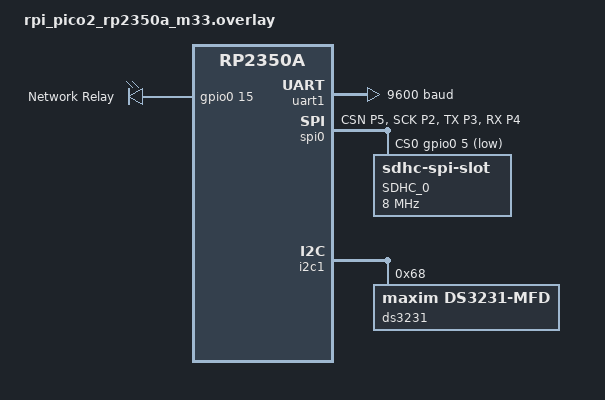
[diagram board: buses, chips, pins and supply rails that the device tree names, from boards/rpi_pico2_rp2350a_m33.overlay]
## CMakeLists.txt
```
# SPDX-License-Identifier: Apache-2.0

cmake_minimum_required(VERSION 3.20.0)
find_package(Zephyr REQUIRED HINTS $ENV{ZEPHYR_BASE})
project(iaq_firmware)

target_sources(app PRIVATE src/main.c)
```

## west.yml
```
manifest:
  # lowest version of the manifest file schema that can parse this file’s data
  version: 1.2
  remotes:
    - name: zephyrproject-rtos
      url-base: https://github.com/zephyrproject-rtos
  projects:
    - name: zephyr
      remote: zephyrproject-rtos
      revision: v4.4.0
      import:
        path-prefix: third_party
        file: west.yml
        name-allowlist:
          - cmsis
          - cmsis_6
          - hal_rpi_pico
          - fatfs
  self:
    path: iaq_firmware
```

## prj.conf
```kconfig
CONFIG_GPIO=y

CONFIG_LOG=y
CONFIG_LOG_DEFAULT_LEVEL=4

CONFIG_SERIAL=y
CONFIG_UART_INTERRUPT_DRIVEN=y
CONFIG_UART_LINE_CTRL=n


CONFIG_DISK_DRIVER_SDMMC=y
CONFIG_SPI=y

CONFIG_FILE_SYSTEM=y

CONFIG_FAT_FILESYSTEM_ELM=y


CONFIG_I2C=y

CONFIG_MFD_DS3231=y
CONFIG_RTC=y
CONFIG_RTC_DS3231=y
CONFIG_SENSOR=y
```

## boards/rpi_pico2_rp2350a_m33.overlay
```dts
/ {
	aliases {
	};

    relays: relays {
        compatible = "gpio-leds";
        
        network_relay: network_relay {
            gpios = <&gpio0 15 GPIO_ACTIVE_HIGH>;
            label = "Network Relay";
        };
        
    };
};

&uart1 {
	status = "okay";
	current-speed = <9600>;
};  

&pinctrl {
	spi0_sdcard_pin: spi0_sdcard_pin {
		group1 {
			pinmux = <SPI0_CSN_P5>, <SPI0_SCK_P2>, <SPI0_TX_P3>;
		};

		group2 {
			pinmux = <SPI0_RX_P4>;
			input-enable;
		};
	};

	i2c1_default: i2c1_default {
		group1 {
			pinmux = <I2C1_SDA_P6>, <I2C1_SCL_P7>;
			input-enable;
			input-schmitt-enable;
		};
	};
};


&spi0{
	status = "okay";
	pinctrl-0 = <&spi0_sdcard_pin>;
	pinctrl-names = "default";
	// Check if active low or high
	cs-gpios = <&gpio0 5 GPIO_ACTIVE_LOW>;

	sdhc0: sdhc@0 {
		compatible = "zephyr,sdhc-spi-slot";
		reg = <0>;
		status = "okay";
		label = "SDHC_0";
		mmc {
			compatible = "zephyr,sdmmc-disk";
			status = "okay";
			disk-name = "SDHC_0";
		};
		spi-max-frequency = <8000000>;
	};
};


&i2c1 {
	status = "okay";
	pinctrl-0 = <&i2c1_default>;
	pinctrl-names = "default";

	ds3231: ds3231@68 {
		compatible = "maxim,ds3231-mfd";
		reg = <0x68>;
		status = "okay";

		ds3231_sensor: ds3231_sensor {
			compatible = "maxim,ds3231-sensor";
			status = "okay";
		};

		ds3231_rtc: ds3231_rtc {
			compatible = "maxim,ds3231-rtc";
			status = "okay";
			isw-gpios = <&gpio0 25 (GPIO_PULL_UP | GPIO_ACTIVE_LOW)>;
			// freq-32khz-gpios = <&gpio0 33 (GPIO_PULL_UP | GPIO_ACTIVE_LOW)>;
		};
	};
};
```

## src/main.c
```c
#include <stdio.h>
#include <zephyr/kernel.h>
#include <zephyr/drivers/gpio.h>
#include <zephyr/logging/log.h>

#include <zephyr/fs/fs.h>
#include <ff.h>

#include <zephyr/drivers/rtc.h>
#include <zephyr/sys/util.h>
#include <zephyr/drivers/sensor.h>
#include <zephyr/drivers/sensor/pzem004t.h>
#include <zephyr/storage/disk_access.h>


#define METER_TO_JSON_FORMAT ("\n=BEGIN={\"voltage\":%0.4f,\"current\": %0.4f,\"power\": %0.4f,\"energy\": %0.4f,\"freq\": %0.4f,\"pf\": %0.4f,\"timestamp\": \"%04d-%02d-%02dT%02d:%02d:%02d\"}==END==\n")

const struct device *const rtc = DEVICE_DT_GET(DT_NODELABEL(ds3231_rtc));

LOG_MODULE_REGISTER(smart_meter, LOG_LEVEL_DBG);

/* 1000 msec = 1 sec */
#define SLEEP_TIME_MS 1000

/* The devicetree node identifier for the "led0" alias. */
#define LED0_NODE DT_ALIAS(led0)

static const struct gpio_dt_spec led = GPIO_DT_SPEC_GET(LED0_NODE, gpios);
// static const struct device *pzem = DEVICE_DT_GET(DT_NODELABEL(pzem));

static FATFS fat_fs;
/* mounting info */
static struct fs_mount_t mp = {
	.type = FS_FATFS,
	.fs_data = &fat_fs,
};

/*
 *  Note the fatfs library is able to mount only strings inside _VOLUME_STRS
 *  in ffconf.h
 */
static const char *disk_mount_pt = "/SD:";

static int mount_sd_card(void)
{
	/* raw disk i/o */
	static const char *disk_pdrv = "SD";
	uint64_t memory_size_mb;
	uint32_t block_count;
	uint32_t block_size;

	if (disk_access_init(disk_pdrv) != 0)
	{
		LOG_ERR("Storage init ERROR!");
		return -1;
	}

	mp.mnt_point = disk_mount_pt;

	int res = fs_mount(&mp);

	if (res == FR_OK)
	{
		LOG_INF("Disk mounted.\n");
	}
	else
	{
		LOG_ERR("Failed to mount disk \n");
		return -1;
	}
	return 0;
}

static int set_date_time(const struct device *rtc, const struct rtc_time tm)
{
	int ret = 0;

	ret = rtc_set_time(rtc, &tm);
	if (ret < 0)
	{
		LOG_ERR("Cannot write date time: %d\n", ret);
		return ret;
	}
	return ret;
}

static int get_date_time(const struct device *rtc, struct rtc_time *tm)
{
	int ret = 0;

	ret = rtc_get_time(rtc, tm);
	if (ret < 0)
	{
		LOG_WRN("Cannot read date time: %d\n", ret);
		return ret;
	}
	LOG_DBG("RTC date and time: %04d-%02d-%02d %02d:%02d:%02d\n", tm->tm_year + 1900,
			tm->tm_mon + 1, tm->tm_mday, tm->tm_hour, tm->tm_min, tm->tm_sec);

	return ret;
}

int main(void)
{
	int ret;
	bool led_state = true;

	// if (!device_is_ready(pzem))
	// {
	// 	LOG_ERR("pzem device not ready.\n");
	// 	return 0;
	// }
	/* Check if the RTC is ready */
	if (!device_is_ready(rtc))
	{
		printk("Device is not ready\n");
		return 0;
	}
	if (!gpio_is_ready_dt(&led))
	{
		return 0;
	}

	ret = gpio_pin_configure_dt(&led, GPIO_OUTPUT_ACTIVE);
	if (ret < 0)
	{
		return 0;
	}
	if (mount_sd_card())
	{
		LOG_ERR("Failed to mount SD card\n");
		return -1;
	}
	else
	{
		LOG_INF("Successfully mounted SD card\n");
	}

#ifdef SET_RTC_TIME_FROM_MACHINE
	const struct rtc_time tm = {
		.tm_year = 2024 - 1900,
		.tm_mon = 11 - 1,
		.tm_mday = 17,
		.tm_hour = 4,
		.tm_min = 19,
		.tm_sec = 0,
	};

	set_date_time(rtc, tm);
#endif

	// struct sensor_value voltage;
	// struct sensor_value current;
	// struct sensor_value frequency;
	// struct sensor_value energy;
	// struct sensor_value power;
	// struct sensor_value power_factor;

	struct rtc_time tm;

	// TODO: (matthew) calculate the maximum buffer required for printing.
	char logging_buffer[1000];
	while (1)
	{
		// ret = sensor_sample_fetch(pzem);
		// if (ret)
		// {
		// 	LOG_WRN("sensor_sample_fetch failed ret %d\n", ret);
		// 	continue;
		// }

		ret = get_date_time(rtc, &tm);
		if (ret)
		{
			LOG_WRN("Reading rtc time failed ret %d\n", ret);
			continue;
		}

		// ret = sensor_channel_get(pzem, SENSOR_CHAN_VOLTAGE, &voltage);
		// ret = sensor_channel_get(pzem, SENSOR_CHAN_CURRENT, &current);
		// ret = sensor_channel_get(pzem, SENSOR_CHAN_POWER, &power);
		// ret = sensor_channel_get(pzem, SENSOR_CHAN_FREQUENCY, &frequency);
		// ret = sensor_channel_get(pzem, SENSOR_CHAN_PZEM004T_ENERGY, &power);
		// ret = sensor_channel_get(pzem, SENSOR_CHAN_PZEM004T_POWER_FACTOR, &power_factor);
		// int needed_size = snprintf(logging_buffer, 1000, METER_TO_JSON_FORMAT, sensor_value_to_float(&voltage), sensor_value_to_float(&current), sensor_value_to_float(&power), sensor_value_to_float(&energy), sensor_value_to_float(&frequency), sensor_value_to_float(&power_factor), tm.tm_year, tm.tm_mon, tm.tm_mday, tm.tm_hour, tm.tm_min, tm.tm_sec);

		char file_name_buffer[60];
		snprintf(file_name_buffer, sizeof(file_name_buffer), "/sd0/meter_data_%04d-%02d-%02d.json", tm.tm_year, tm.tm_mon, tm.tm_mday);

		struct fs_file_t data_filp;
		fs_file_t_init(&data_filp);

		ret = fs_open(&data_filp, file_name_buffer, FS_O_APPEND | FS_O_CREATE);
		if (ret)
		{
			LOG_ERR("%s -- failed to create file (err = %d)\n", __func__, ret);
			continue;
		}
		else
		{
			LOG_INF("%s - successfully created file\n", __func__);
		}

		ret = fs_write(&data_filp, logging_buffer, strlen(logging_buffer));
		if (ret < 0)
		{
			LOG_ERR("%s -- failed to write to file (err = %d)\n", __func__, ret);
			continue;
		}
		fs_close(&data_filp);
		k_sleep(K_MSEC(10000));
	}

	return 0;
}
```

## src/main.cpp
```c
#include <cstdio>
#include "pico/stdlib.h"

#include "sensors.h"


int main()
{
     //Initialise standard I/O
    stdio_init_all();
    std::printf("\n=== IoT Air Quality Board ===\n");

    //Initialize hardware modules
    std::printf("Initialising sensors..\n");
    sensors_init();

    std::printf("Initialising WiFi module...\n");

    sleep_ms(2000);
    std::printf("\nSystem Ready.\n\n");

    while (true) {
        //Read all sensor data
        SensorData data = sensors_read_all();

        //Print readings to serial
        if (data.valid) {
            std::printf("......SENSOR READINGS......\n");
            std::printf("PM1.0: %.3f  µg/m³ | PM2.5: %.3f  µg/m³ | PM10:  %.3f  µg/m³ \n", data.pm1, data.pm25, data.pm10);
            std::printf("CO₂: %.3f  ppm | VOC Grade: %.3f \n", data.co2, data.voc);
            std::printf("Temp: %.1f °C | Humidity: %.1f %%\n", data.temp, data.hum);
            std::printf("CH₂O: %.3f mg/m³ | CO: %.1f ppm | O₃: %.2f ppm | NO₂: %.2f ppm\n\n", data.ch2o, data.co, data.o3, data.no2);
            
        } else {
            std::printf("ZPHS01B not detected/Invalid response\n\n");
        }
        std::printf(".....MQ ANALOG SENSORS..........\n");
        std::printf("MQ-H2S (ADC0, GPIO26): %.3f V\n", data.h2s_voltage);
        std::printf("MQ-SNO2 (ADC1, GPIO27): %.3f V\n", data.sno2_voltage);
        std::printf("........................\n\n");


        //Wait for the next cycle
        sleep_ms(3000);
    }

    /*while (1)
        printTest();
    return 0;*/
}
```

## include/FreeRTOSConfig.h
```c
/*
 * FreeRTOS V202111.00
 * Copyright (C) 2020 Amazon.com, Inc. or its affiliates.  All Rights Reserved.
 *
 * Permission is hereby granted, free of charge, to any person obtaining a copy of
 * this software and associated documentation files (the "Software"), to deal in
 * the Software without restriction, including without limitation the rights to
 * use, copy, modify, merge, publish, distribute, sublicense, and/or sell copies of
 * the Software, and to permit persons to whom the Software is furnished to do so,
 * subject to the following conditions:
 *
 * The above copyright notice and this permission notice shall be included in all
 * copies or substantial portions of the Software.
 *
 * THE SOFTWARE IS PROVIDED "AS IS", WITHOUT WARRANTY OF ANY KIND, EXPRESS OR
 * IMPLIED, INCLUDING BUT NOT LIMITED TO THE WARRANTIES OF MERCHANTABILITY, FITNESS
 * FOR A PARTICULAR PURPOSE AND NONINFRINGEMENT. IN NO EVENT SHALL THE AUTHORS OR
 * COPYRIGHT HOLDERS BE LIABLE FOR ANY CLAIM, DAMAGES OR OTHER LIABILITY, WHETHER
 * IN AN ACTION OF CONTRACT, TORT OR OTHERWISE, ARISING FROM, OUT OF OR IN
 * CONNECTION WITH THE SOFTWARE OR THE USE OR OTHER DEALINGS IN THE SOFTWARE.
 *
 * http://www.FreeRTOS.org
 * http://aws.amazon.com/freertos
 *
 * 1 tab == 4 spaces!
 */

#ifndef FREERTOS_CONFIG_H
#define FREERTOS_CONFIG_H

/*-----------------------------------------------------------
 * Application specific definitions.
 *
 * These definitions should be adjusted for your particular hardware and
 * application requirements.
 *
 * THESE PARAMETERS ARE DESCRIBED WITHIN THE 'CONFIGURATION' SECTION OF THE
 * FreeRTOS API DOCUMENTATION AVAILABLE ON THE FreeRTOS.org WEB SITE.
 *
 * See http://www.freertos.org/a00110.html
 *----------------------------------------------------------*/
#define configUSE_PASSIVE_IDLE_HOOK 0
#define configKERNEL_PROVIDED_STATIC_MEMORY 0
/* Scheduler Related */
#define configUSE_PREEMPTION 1
#define configUSE_TICKLESS_IDLE 0
#define configUSE_IDLE_HOOK 0
#define configUSE_TICK_HOOK 0
#define configTICK_RATE_HZ ((TickType_t)1000)
#define configMAX_PRIORITIES 32
#define configMINIMAL_STACK_SIZE (configSTACK_DEPTH_TYPE)256
#define configUSE_16_BIT_TICKS 0

#define configIDLE_SHOULD_YIELD 1

/* Synchronization Related */
#define configUSE_MUTEXES 1
#define configUSE_RECURSIVE_MUTEXES 1
#define configUSE_APPLICATION_TASK_TAG 0
#define configUSE_COUNTING_SEMAPHORES 1
#define configQUEUE_REGISTRY_SIZE 8
#define configUSE_QUEUE_SETS 1
#define configUSE_TIME_SLICING 1
#define configUSE_NEWLIB_REENTRANT 0
// todo need this for lwip FreeRTOS sys_arch to compile
#define configENABLE_BACKWARD_COMPATIBILITY 1
#define configNUM_THREAD_LOCAL_STORAGE_POINTERS 5

/* System */
#define configSTACK_DEPTH_TYPE uint32_t
#define configMESSAGE_BUFFER_LENGTH_TYPE size_t

/* Memory allocation related definitions. */
#define configSUPPORT_STATIC_ALLOCATION 1
#define configSUPPORT_DYNAMIC_ALLOCATION 1
#define configTOTAL_HEAP_SIZE (100 * 1024)
#define configAPPLICATION_ALLOCATED_HEAP 0

/* Hook function related definitions. */
#define configCHECK_FOR_STACK_OVERFLOW 0
#define configUSE_MALLOC_FAILED_HOOK 0
#define configUSE_DAEMON_TASK_STARTUP_HOOK 0

/* Run time and task stats gathering related definitions. */
#define configGENERATE_RUN_TIME_STATS 1
#define configUSE_TRACE_FACILITY 1
#define configUSE_STATS_FORMATTING_FUNCTIONS 1

/* Co-routine related definitions. */
#define configUSE_CO_ROUTINES 0
#define configMAX_CO_ROUTINE_PRIORITIES 1

/* Software timer related definitions. */
#define configUSE_TIMERS 1
#define configTIMER_TASK_PRIORITY (configMAX_PRIORITIES - 1)
#define configTIMER_QUEUE_LENGTH 10
#define configTIMER_TASK_STACK_DEPTH 1024

/* Interrupt nesting behaviour configuration. */
/*
#define configKERNEL_INTERRUPT_PRIORITY         [dependent of processor]
#define configMAX_SYSCALL_INTERRUPT_PRIORITY    [dependent on processor and application]
#define configMAX_API_CALL_INTERRUPT_PRIORITY   [dependent on processor and application]
*/

#if FREE_RTOS_KERNEL_SMP // set by the RP2040 SMP port of FreeRTOS
/* SMP port only */
#define configNUMBER_OF_CORES 2
#define configTICK_CORE 0
#define configRUN_MULTIPLE_PRIORITIES 1
#define configUSE_CORE_AFFINITY 1
#endif

/* RP2040 specific */
#define configSUPPORT_PICO_SYNC_INTEROP 1
#define configSUPPORT_PICO_TIME_INTEROP 1

// #include <assert.h>
// /* Define to trap errors during development. */
// #define configASSERT(x) assert(x)
/* Define to trap errors during development. */
//#define configASSERT( x )  assert( x )
#ifdef NDEBUG           /* required by ANSI standard */
#  define configASSERT(__e) ((void)0)
#else
#  define configASSERT(__e) ((void)0)

// #include "assert_panic.h"
// #  define configASSERT(__e) ((__e) ? (void)0 : my_assert_func(__FILE__, __LINE__, __func__, #__e))
#endif

/* Set the following definitions to 1 to include the API function, or zero
to exclude the API function. */
#define INCLUDE_vTaskPrioritySet 1
#define INCLUDE_uxTaskPriorityGet 1
#define INCLUDE_vTaskDelete 1
#define INCLUDE_vTaskSuspend 1
#define INCLUDE_vTaskDelayUntil 1
#define INCLUDE_vTaskDelay 1
#define INCLUDE_xTaskGetSchedulerState 1
#define INCLUDE_xTaskGetCurrentTaskHandle 1
#define INCLUDE_uxTaskGetStackHighWaterMark 1
#define INCLUDE_xTaskGetIdleTaskHandle 1
#define INCLUDE_eTaskGetState 1
#define INCLUDE_xTimerPendFunctionCall 1
#define INCLUDE_xTaskAbortDelay 1
#define INCLUDE_xTaskGetHandle 1
#define INCLUDE_xTaskResumeFromISR 1
#define INCLUDE_xQueueGetMutexHolder 1

/* A header file that defines trace macro can be included here. */

#if defined(PICO_RP2040) || defined(PICO_PR2350)
#include "RP2040.h"

#define portCONFIGURE_TIMER_FOR_RUN_TIME_STATS()

#ifdef __cplusplus
extern "C"
{
#endif

    uint64_t time_us_64(void);

#ifdef __cplusplus
}
#endif
#define portGET_RUN_TIME_COUNTER_VALUE() (time_us_64() / 100)
#endif



#define configTASK_NOTIFICATION_ARRAY_ENTRIES   4

#endif /* FREERTOS_CONFIG_H */
```

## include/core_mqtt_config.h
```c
/*
 * coreMQTT v2.3.1
 * Copyright (C) 2020 Amazon.com, Inc. or its affiliates.  All Rights Reserved.
 *
 * SPDX-License-Identifier: MIT
 *
 * Permission is hereby granted, free of charge, to any person obtaining a copy of
 * this software and associated documentation files (the "Software"), to deal in
 * the Software without restriction, including without limitation the rights to
 * use, copy, modify, merge, publish, distribute, sublicense, and/or sell copies of
 * the Software, and to permit persons to whom the Software is furnished to do so,
 * subject to the following conditions:
 *
 * The above copyright notice and this permission notice shall be included in all
 * copies or substantial portions of the Software.
 *
 * THE SOFTWARE IS PROVIDED "AS IS", WITHOUT WARRANTY OF ANY KIND, EXPRESS OR
 * IMPLIED, INCLUDING BUT NOT LIMITED TO THE WARRANTIES OF MERCHANTABILITY, FITNESS
 * FOR A PARTICULAR PURPOSE AND NONINFRINGEMENT. IN NO EVENT SHALL THE AUTHORS OR
 * COPYRIGHT HOLDERS BE LIABLE FOR ANY CLAIM, DAMAGES OR OTHER LIABILITY, WHETHER
 * IN AN ACTION OF CONTRACT, TORT OR OTHERWISE, ARISING FROM, OUT OF OR IN
 * CONNECTION WITH THE SOFTWARE OR THE USE OR OTHER DEALINGS IN THE SOFTWARE.
 */

/**
 * @file core_mqtt_config.h
 * @brief This header sets configuration macros for the MQTT library.
 */
#ifndef CORE_MQTT_CONFIG_H_
#define CORE_MQTT_CONFIG_H_

/* Standard include. */
#include <stdint.h>

/**************************************************/
/******* DO NOT CHANGE the following order ********/
/**************************************************/

/* Include logging header files and define logging macros in the following order:
 * 1. Include the header file "logging_levels.h".
 * 2. Define the LIBRARY_LOG_NAME and LIBRARY_LOG_LEVEL macros depending on
 * the logging configuration for MQTT.
 * 3. Include the header file "logging_stack.h", if logging is enabled for MQTT.
 */

/* Logging configuration for the MQTT library. */
#ifndef LIBRARY_LOG_NAME
#define LIBRARY_LOG_NAME "CORE_MQTT"
#endif

#ifndef LIBRARY_LOG_LEVEL
#define LIBRARY_LOG_LEVEL LOG_DEBUG
#endif

/************ End of logging configuration ****************/

/**
 * @brief Retry count for reading CONNACK from network.
 *
 * #MQTT_Connect() can be using retries. If timeout passed as 0 to MQTT_Connect(),
 * retries are used to attempt to read from network. The maximum retry count is
 * specified by this config.
 *
 * These unit tests expect retrying only twice.
 */
#define MQTT_MAX_CONNACK_RECEIVE_RETRY_COUNT (2U)

#define MQTT_SUB_UNSUB_MAX_VECTORS (6U)

#define MQTT_SEND_TIMEOUT_MS (2000U)

#define MQTT_PINGRESP_TIMEOUT_MS (20000U)

// #include <stdio.h>
// #define LogError(...) printf(LIBRARY_LOG_NAME ": "); printf __VA_ARGS__; printf("\n");
// #define LogWarn(...) printf(LIBRARY_LOG_NAME ": "); printf __VA_ARGS__; printf("\n");
// #define LogDebug(...) printf(LIBRARY_LOG_NAME ": "); printf __VA_ARGS__; printf("\n");
// #define LogInfo(...) printf(LIBRARY_LOG_NAME ": "); printf __VA_ARGS__; printf("\n");

#endif /* ifndef CORE_MQTT_CONFIG_H_ */
```

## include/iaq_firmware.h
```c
#pragma once

#include "iaq_utils/iaq_assert_panic.h"
#define configASSERT_PANIC(__e) ((__e) ? (void)0 : my_assert_func_panic(__FILE__, __LINE__, __func__, #__e))
#define PANIC(str) my_assert_func_panic(__FILE__, __LINE__, __func__, str)
```

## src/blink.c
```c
#include "blink.h"

#include <stdio.h>

void printTest()
{
    printf("This is a test function for the blink program.\n");
}
```

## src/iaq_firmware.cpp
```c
#include "iaq_firmware.h"

#include <cstdio>
#include "pico/stdlib.h"

#include "sensors.h"
#include "fat_sd_card.h"
#include "rtc.h"
#include "mqtt_function.h"
#include "system_state_task.h"
#include "FreeRTOS.h"
#include "task.h"
#include "queue.h"
#include "portmacro.h"
#include "projdefs.h"

#include <string>
using std::string;

#include "memcpy_shared_pointer.h"

using std::string;

#define SENSOR_TO_JSON_FORMAT ("{\"pm1\":%0.4f,\"pm25\": %0.4f,\"pm10\": %0.4f,\"co2\": %0.4f,\"voc\": %0.4f,\"temp\": %0.4f,\"hum\": %0.4f,\"ch2o\": %0.4f,\"co\": %0.4f,\"o3\": %0.4f,\"no2\": %0.4f,\"h2s\": %0.4f,\"timestamp\": \"%04d-%02d-%02dT%02d:%02d:%02d\"}")
#define TAG "MAIN"
// Start blink task
TaskHandle_t taskSensor;
TaskHandle_t taskStorage;
TaskHandle_t taskSystemState;
TaskHandle_t taskNetwork;
QueueHandle_t sensorToStorageQueue;
QueueHandle_t sensorToNetworkQueue;
QueueHandle_t systemStateQueue;

#ifdef CYW43_WL_GPIO_LED_PIN
#include "pico/cyw43_arch.h"
#endif
#include "iaq_utils/iaq_logging.h"

#ifndef LED_DELAY_MS
#define LED_DELAY_MS 250
#endif
#include "iaq_utils/iaq_time.h"

// Perform initialisation
int pico_led_init(void)
{
#if defined(PICO_DEFAULT_LED_PIN)
    // A device like Pico that uses a GPIO for the LED will define PICO_DEFAULT_LED_PIN
    // so we can use normal GPIO functionality to turn the led on and off
    gpio_init(PICO_DEFAULT_LED_PIN);
    gpio_set_dir(PICO_DEFAULT_LED_PIN, GPIO_OUT);
    return PICO_OK;
#elif defined(CYW43_WL_GPIO_LED_PIN)
    // For Pico W devices we need to initialise the driver etc
    // return cyw43_arch_init();
#endif
}

// Turn the led on or off
void pico_set_led(bool led_on)
{
#if defined(PICO_DEFAULT_LED_PIN)
    // Just set the GPIO on or off
    gpio_put(PICO_DEFAULT_LED_PIN, led_on);
#elif defined(CYW43_WL_GPIO_LED_PIN)
    // Ask the wifi "driver" to set the GPIO on or off
    cyw43_arch_gpio_put(CYW43_WL_GPIO_LED_PIN, led_on);
#endif
}

bool pico_get_led()
{
#if defined(PICO_DEFAULT_LED_PIN)
    // Just read the GPIO
    return gpio_get(PICO_DEFAULT_LED_PIN);
#elif defined(CYW43_WL_GPIO_LED_PIN)
    // Ask the wifi "driver" to read the GPIO
    return cyw43_arch_gpio_get(CYW43_WL_GPIO_LED_PIN);
#endif
}

void sensorTask(void *para)
{

    LOGI(TAG, "=== IoT Air Quality Board ===");

    // Initialize hardware modules
    LOGI(TAG, "Initialising sensors..");
    sensors_init();

    // printf("System Ready.\n\n", xTaskGetCurrentTaskHandle()->pxTaskName);
    TickType_t xLastWakeTime = xTaskGetTickCount();
    xTaskGetCurrentTaskHandle();
    while (true)
    {
        memcpy_shared_ptr<string> data_str_p = make_memcpy_shared_ptr<string>("");

        // Read all sensor data
        SensorData data = sensors_read_all();
        // pico_set_led(true);
        // vTaskDelay(100);
        // pico_set_led(false);

        // Print readings to serial
        if (!data.valid)
        {
            LOGW(TAG, "Invalid sensor data, skipping this cycle.");
            continue;
        }

        datetime_t dt;
        IAQ_RTC::get_time(&dt);

        // IAQ_RTC::set_time(&dt);
        int needed_size = sprintf(nullptr, SENSOR_TO_JSON_FORMAT, data.pm1, data.pm25, data.pm10, data.co2, data.voc, data.temp, data.hum, data.ch2o, data.co, data.o3, data.no2, data.h2s_ugm3, dt.year, dt.month, dt.day, dt.hour, dt.min, dt.sec);

        data_str_p->resize(needed_size + 1);
        sprintf(data_str_p->data(), SENSOR_TO_JSON_FORMAT, data.pm1, data.pm25, data.pm10, data.co2, data.voc, data.temp, data.hum, data.ch2o, data.co, data.o3, data.no2, data.h2s_ugm3, dt.year, dt.month, dt.day, dt.hour, dt.min, dt.sec);

        if (!data_str_p.memcpy_send(nullptr, [](void *, const memcpy_shared_ptr<string> *src)
                                    { return xQueueSend(sensorToStorageQueue, src, 10) == pdTRUE; }))
        {
            LOGW(TAG, "Failed to send data to storage queue\n");
        }

        memcpy_shared_ptr<string> data_str_p2 = make_memcpy_shared_ptr<string>(data_str_p->c_str());
        if (!data_str_p2.memcpy_send(nullptr, [](void *, const memcpy_shared_ptr<string> *src)
                                     { return xQueueSend(sensorToNetworkQueue, src, 10) == pdTRUE; }))
        {
            LOGW(TAG, "Failed to send data to network queue\n");
        }

        // Wait for the next cycle
        vTaskDelayUntil(&xLastWakeTime, pdMS_TO_TICKS(1000 * 10));
    }
}

void storageTask(void *para)
{
    configASSERT_PANIC(fat_sd_card_init(false));
    memcpy_shared_ptr<string> data_str_p{};

    while (1)
    {

        if (data_str_p.memcpy_receive(nullptr, [](memcpy_shared_ptr<string> *dest, const void *const src)
                                      { return xQueueReceive(sensorToStorageQueue, dest, 1000) == pdTRUE; }))
        {
            LOGV(TAG, "Received data for storage: %s\n", data_str_p->c_str());

            datetime_t dt;
            IAQ_RTC::get_time(&dt);
            char file_name_buffer[60];
            snprintf(file_name_buffer, sizeof(file_name_buffer), "/sd0/meter_data_%04d-%02d-%02d.json", dt.year, dt.month, dt.day);
            FF_FILE *file = fat_sd_card_open(file_name_buffer, "a");

            fat_sd_card_write("\n=BEGIN=", strlen("\n=BEGIN="), file);
            fat_sd_card_write(data_str_p->c_str(), data_str_p->length(), file);
            fat_sd_card_write("==END==\n", strlen("==END==\n"), file);

            fat_sd_card_close(file);
        }

        vTaskDelay(pdMS_TO_TICKS(1 * 1000));
    }
    fat_sd_card_deinit();
}

void networkTask(void *para)
{
    // pico_led_init();

    gpio_init(22);
    gpio_set_dir(22, GPIO_OUT);
    gpio_put(22, true);
    vTaskDelay(pdMS_TO_TICKS(60000));

    while (true)
    {

        memcpy_shared_ptr<string> data_str_p{};
        if (full_connecion())
        {
            if (data_str_p.memcpy_receive(nullptr, [](memcpy_shared_ptr<string> *dest, const void *const src)
                                          { return xQueueReceive(sensorToNetworkQueue, dest, 0) == pdTRUE; }))
            {
                LOGV(TAG, "Received data for storage: %s\n", data_str_p->c_str());

                mqtt_publish("test/topic", data_str_p->c_str(), MQTTQoS0);
                mqtt_loop();
            }
        }
        else
        {
            close_conn();
        }

        iaq_delay_ms(1);
    }
    printf("mqtt client exiting\n");
    vTaskDelete(NULL);
}

int main()
{
    // Initialise standard I/O
    stdio_init_all();
    IAQ_RTC::init();

    sensorToStorageQueue = xQueueCreate(1, sizeof(memcpy_shared_ptr<string>));
    sensorToNetworkQueue = xQueueCreate(1, sizeof(memcpy_shared_ptr<string>));
    systemStateQueue = xQueueCreate(5, sizeof(SystemState));
    xTaskCreate(sensorTask, "sensorThread", 5000, NULL, 2, &taskSensor);
    xTaskCreate(storageTask, "storageThread", 5000, NULL, 2, &taskStorage);
    xTaskCreate(networkTask, "NetworkThread", 5000, NULL, 2, &taskNetwork);
    xTaskCreate(systemStateTask, "SystemStateThread", 5000, NULL, 2, &taskSystemState);

    // vTaskCoreAffinitySet(taskNetwork, (1 << 0));
    /* Start the tasks and timer running. */
    vTaskStartScheduler();

    return 0;
}
```

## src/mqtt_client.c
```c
#include "pico/stdlib.h"


#include <stdlib.h> // For rand() and srand()
#include <time.h>

#include "mqtt_function.h"
#include "FreeRTOS.h"
#include "task.h"

#include "hardware/adc.h"
static void mqtt_task(void *para)
{

    wifi_init("lulo", "llllllll");
    mqtt_connect();

    while (mqtt_connected())
    {
        vTaskDelay(100);
    }
    printf("mqtt client exiting\n");
    vTaskDelete(NULL);
    return;
}

int main(void)
{
    stdio_init_all();

    srand(time(NULL));

    printf("mqtt client starting\n");

    adc_init();
    adc_set_temp_sensor_enabled(true);
    adc_select_input(4);

    // Create our blink task
    xTaskCreate(mqtt_task,
                "BlinkTask",
                10240, // stack words
                NULL,
                tskIDLE_PRIORITY + 1,
                NULL);

    // Start FreeRTOS scheduler
    vTaskStartScheduler();
    // We should never get here
    for (;;)
        tight_loop_contents();
    return 0;
}
```

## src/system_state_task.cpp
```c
#include "system_state_task.h"

#include "pico/stdlib.h"
#include "iaq_utils/iaq_time.h"

#include "FreeRTOS.h"
#include "task.h"
#include "queue.h"

extern QueueHandle_t systemStateQueue;

static uint32_t systemStateToDelayTime(SystemState state)
{
    switch (state)
    {
    case SystemState::NORMAL:
        return 500;
    case SystemState::WIFI_CONNECTED:
        return 500;
    case SystemState::TLS_CONNECTED:
        return 500;
    case SystemState::MQTT_CONNECTED:
        return 500;
    case SystemState::SYS_ERROR:
        return 250;
    default:
        return 1000;
    }
}

static uint32_t systemStateToBlinkCount(SystemState state)
{
    switch (state)
    {
    case SystemState::NORMAL:
        return 1;
    case SystemState::WIFI_CONNECTED:
        return 2;
    case SystemState::TLS_CONNECTED:
        return 3;
    case SystemState::MQTT_CONNECTED:
        return 4;
    case SystemState::SYS_ERROR:
        return 10;
    default:
        return 1;
    }
}

extern "C" bool sendState(SystemState state)
{
    return xQueueSend(systemStateQueue, &state, 0) == pdTRUE;
}
void systemStateTask(void *para)
{

    gpio_init(16);
    gpio_set_dir(16, GPIO_OUT);
    // TickType_t xLastWakeTime = xTaskGetTickCount();
    SystemState state = SystemState::NORMAL;
    uint32_t delayTime = systemStateToDelayTime(state);
    uint32_t blinkCount = systemStateToBlinkCount(state);

    uint32_t currentBlinkCounter = 0;
    while (1)
    {
        if (xQueueReceive(systemStateQueue, &state, 0) == pdTRUE)
        {
            gpio_put(16, 0);

            delayTime = systemStateToDelayTime(state);
            blinkCount = systemStateToBlinkCount(state);
            currentBlinkCounter = 0;
        }
        if (currentBlinkCounter < 2 * blinkCount)
        {
            gpio_put(16, !gpio_get(16));
            currentBlinkCounter++;
        }
        else
        {
            gpio_put(16, 0);
            currentBlinkCounter = 0;
            iaq_delay_ms(3000);
        }
        iaq_delay_ms(delayTime);

        // vTaskDelayUntil(&xLastWakeTime, pdMS_TO_TICKS(delayTime)); ZMe:m:UKLkuW3NT
    }
}
```

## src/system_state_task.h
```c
#ifndef __SYSTEM_STATE_TASK_H__
#define __SYSTEM_STATE_TASK_H__

enum SystemState
{
    NORMAL = 0x0000,
    WIFI_CONNECTED,
    TLS_CONNECTED ,
    MQTT_CONNECTED,
    SYS_ERROR = 10,
};
void systemStateTask(void *para);
#ifdef __cplusplus

extern "C"
{
#endif
    bool sendState(enum SystemState state);
#ifdef __cplusplus
}
#endif

#endif // __SYSTEM_STATE_TASK_H__
```

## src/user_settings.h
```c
/* examples/configs/user_settings_arduino.h
 *
 * Copyright (C) 2006-2025 wolfSSL Inc.
 *
 * This file is part of wolfSSL.
 *
 * wolfSSL is free software; you can redistribute it and/or modify
 * it under the terms of the GNU General Public License as published by
 * the Free Software Foundation; either version 3 of the License, or
 * (at your option) any later version.
 *
 * wolfSSL is distributed in the hope that it will be useful,
 * but WITHOUT ANY WARRANTY; without even the implied warranty of
 * MERCHANTABILITY or FITNESS FOR A PARTICULAR PURPOSE.  See the
 * GNU General Public License for more details.
 *
 * You should have received a copy of the GNU General Public License
 * along with this program; if not, write to the Free Software
 * Foundation, Inc., 51 Franklin Street, Fifth Floor, Boston, MA 02110-1335, USA
 */

/* This is a sample Arduino user_settings.h for wolfSSL
 */

/* Define a macro to display user settings version in example code: */
#define WOLFSSL_ALT_CERT_CHAINS

#define WOLFSSL_USER_SETTINGS_ID "Arduino user_settings.h v5.7.6"

/* Disable wolfcrypt cryptographic security hardening. Comment out to enable: */
/* #define WC_NO_HARDEN */

/* Instead, we harden ECC and RSA */
#define ECC_TIMING_RESISTANT
#define WC_RSA_BLINDING

/* Due to limited build control, we'll ignore file warnings. */
/* See https://github.com/arduino/arduino-cli/issues/631     */
#undef WOLFSSL_IGNORE_FILE_WARN
#define WOLFSSL_IGNORE_FILE_WARN

#define NO_FILESYSTEM
#define USE_CERT_BUFFERS_2048

/* Make sure this is not an ESP-IDF file */
#undef WOLFSSL_ESPIDF

#define HAVE_ECC

#define WOLFSSL_SMALL_STACK
/* #define WOLFSSL_SMALL_STACK_EXTRA    */
/* #define WOLFSSL_SMALL_STACK_CIPHERS  */
/* #define NO_DH                        */
#define MICRO_SESSION_CACHE

/* RSA must be enabled for examples, but can be disabled like this: */
/* #define NO_RSA */
#define RSA_LOW_MEM

#define NO_OLD_TLS
/* TLS 1.3                                 */
/* #define WOLFSSL_TLS13 */
#if defined(WOLFSSL_TLS13)
#define HAVE_TLS_EXTENSIONS
#define WC_RSA_PSS
#define HAVE_HKDF
#define HAVE_AEAD
#endif

/*  #define HAVE_SUPPORTED_CURVES  */

/* Cannot use WOLFSSL_NO_MALLOC with small stack */
/* #define WOLFSSL_NO_MALLOC */

#define HAVE_TLS_EXTENSIONS
#define HAVE_SUPPORTED_CURVES

/* To further reduce size, client or server functionality can be disabled.
 * Here, we check if the example code gave us a hint.
 *
 * The calling application can define either one of these macros before
 * including the Arduino wolfssl.h library file:
 *
 *    WOLFSSL_CLIENT_EXAMPLE
 *    WOLFSSL_SERVER_EXAMPLE
 */

/* The examples must be manually selected here: */

#if defined(WOLFSSL_CLIENT_EXAMPLE)
#define NO_WOLFSSL_SERVER
#elif defined(WOLFSSL_SERVER_EXAMPLE)
#define NO_WOLFSSL_CLIENT
#elif defined(WOLFSSL_TEMPLATE_EXAMPLE)
#define NO_TLS
#define WOLFCRYPT_ONLY
#define NO_WOLFSSL_SERVER
#define NO_WOLFSSL_CLIENT
#elif defined(WOLFSSL_AES_CTR_EXAMPLE)
#define NO_TLS
#define WOLFCRYPT_ONLY
#define NO_WOLFSSL_SERVER
#define NO_WOLFSSL_CLIENT
#define WOLFSSL_AES
#define WOLFSSL_AES_COUNTER
#else
/* Provide a hint to application that neither WOLFSSL_CLIENT_EXAMPLE
 * or WOLFSSL_SERVER_EXAMPLE macro hint was desired but not found. */
#define NO_WOLFSSL_SERVER_CLIENT_MISSING

/* By default all examples are enabled; no specific optimizations */
#endif

#define NO_DH
#define NO_DSA
#define USE_FAST_MATH
#define WOLFSSL_SMALL_STACK
#define SINGLE_THREADED
#define WOLFSSL_LOW_MEMORY
#define HAVE_AESGCM

/* optionally turn off SHA512/224 SHA512/256 */
/* #define WOLFSSL_NOSHA512_224 */
/* #define WOLFSSL_NOSHA512_256 */

/* when you want to use SINGLE THREAD. Note Default ESP-IDF is FreeRTOS */
#define SINGLE_THREADED

/* Optional OPENSSL compatibility */
/* #define OPENSSL_EXTRA */
/* #define OPENSSL_ALL */

/* when you want to use pkcs7 */
/* #define HAVE_PKCS7 */

/* when you want to use AES counter mode */
#define WOLFSSL_AES_DIRECT
#define WOLFSSL_AES_COUNTER

/* esp32-wroom-32se specific definition */
#if defined(WOLFSSL_ESPWROOM32SE)
#define WOLFSSL_ATECC508A
#define HAVE_PK_CALLBACKS
/* when you want to use a custom slot allocation for ATECC608A */
/* unless your configuration is unusual, you can use default   */
/* implementation.                                             */
/* #define CUSTOM_SLOT_ALLOCATION                              */
#endif

/* RSA primitive specific definition */
#if defined(WOLFSSL_ESP32) || defined(WOLFSSL_ESPWROOM32SE)
/* Define USE_FAST_MATH and SMALL_STACK                        */
#define ESP32_USE_RSA_PRIMITIVE

#if defined(CONFIG_IDF_TARGET_ESP32)

/* NOTE HW unreliable for small values! */
/* threshold for performance adjustment for HW primitive use   */
/* X bits of G^X mod P greater than                            */
#undef ESP_RSA_EXPT_XBITS
#define ESP_RSA_EXPT_XBITS 32

/* X and Y of X * Y mod P greater than                         */
#undef ESP_RSA_MULM_BITS
#define ESP_RSA_MULM_BITS 16

#endif
#endif

/* #define WOLFSSL_ATECC508A_DEBUG         */

/* date/time                               */
/* if it cannot adjust time in the device, */
/* enable macro below                      */
/* #define NO_ASN_TIME */
/* #define XTIME time */

/* adjust wait-timeout count if you see timeout in RSA HW acceleration */
#define ESP_RSA_TIMEOUT_CNT 0x249F00

#define HASH_SIZE_LIMIT /* for test.c */

/* USE_FAST_MATH is default */
#define USE_FAST_MATH

/*****      Use SP_MATH      *****/
/* #undef USE_FAST_MATH          */
/* #define SP_MATH               */
/* #define WOLFSSL_SP_MATH_ALL   */

/***** Use Integer Heap Math *****/
/* #undef USE_FAST_MATH          */
/* #define USE_INTEGER_HEAP_MATH */

/* Default is HW enabled unless turned off.
** Uncomment these lines to force SW instead of HW acceleration */

#if defined(CONFIG_IDF_TARGET_ESP32)
/* wolfSSL HW Acceleration supported on ESP32. Uncomment to disable: */
/*  #define NO_ESP32_CRYPT                 */
/*  #define NO_WOLFSSL_ESP32_CRYPT_HASH    */
/*  #define NO_WOLFSSL_ESP32_CRYPT_AES     */
/*  #define NO_WOLFSSL_ESP32_CRYPT_RSA_PRI */
/*  #define NO_WOLFSSL_ESP32_CRYPT_RSA_PRI_MP_MUL  */
/*  #define NO_WOLFSSL_ESP32_CRYPT_RSA_PRI_MULMOD  */
/*  #define NO_WOLFSSL_ESP32_CRYPT_RSA_PRI_EXPTMOD */

/*  These are defined automatically in esp32-crypt.h, here for clarity:  */
#define NO_WOLFSSL_ESP32_CRYPT_HASH_SHA224 /* no SHA224 HW on ESP32  */

#undef ESP_RSA_MULM_BITS
#define ESP_RSA_MULM_BITS 16 /* TODO add compile-time warning */
/***** END CONFIG_IDF_TARGET_ESP32 *****/

#elif defined(CONFIG_IDF_TARGET_ESP32S2)
/* wolfSSL HW Acceleration supported on ESP32-S2. Uncomment to disable: */
/*  #define NO_ESP32_CRYPT                 */
/*  #define NO_WOLFSSL_ESP32_CRYPT_HASH    */
/* Note: There's no AES192 HW on the ESP32-S2; falls back to SW */
/*  #define NO_WOLFSSL_ESP32_CRYPT_AES     */
/*  #define NO_WOLFSSL_ESP32_CRYPT_RSA_PRI */
/*  #define NO_WOLFSSL_ESP32_CRYPT_RSA_PRI_MP_MUL  */
/*  #define NO_WOLFSSL_ESP32_CRYPT_RSA_PRI_MULMOD  */
/*  #define NO_WOLFSSL_ESP32_CRYPT_RSA_PRI_EXPTMOD */
/***** END CONFIG_IDF_TARGET_ESP32S2 *****/

#elif defined(CONFIG_IDF_TARGET_ESP32S3)
/* wolfSSL HW Acceleration supported on ESP32-S3. Uncomment to disable: */
/*  #define NO_ESP32_CRYPT                         */
/*  #define NO_WOLFSSL_ESP32_CRYPT_HASH            */
/* Note: There's no AES192 HW on the ESP32-S3; falls back to SW */
/*  #define NO_WOLFSSL_ESP32_CRYPT_AES             */
/*  #define NO_WOLFSSL_ESP32_CRYPT_RSA_PRI         */
/*  #define NO_WOLFSSL_ESP32_CRYPT_RSA_PRI_MP_MUL  */
/*  #define NO_WOLFSSL_ESP32_CRYPT_RSA_PRI_MULMOD  */
/*  #define NO_WOLFSSL_ESP32_CRYPT_RSA_PRI_EXPTMOD */
/***** END CONFIG_IDF_TARGET_ESP32S3 *****/

#elif defined(CONFIG_IDF_TARGET_ESP32C2) || \
    defined(CONFIG_IDF_TARGET_ESP8684)
/* ESP8684 is essentially ESP32-C2 chip + flash embedded together in a
 * single QFN 4x4 mm package. Out of released documentation, Technical
 * Reference Manual as well as ESP-IDF Programming Guide is applicable
 * to both ESP32-C2 and ESP8684.
 *
 * See: https://www.esp32.com/viewtopic.php?f=5&t=27926#:~:text=ESP8684%20is%20essentially%20ESP32%2DC2,both%20ESP32%2DC2%20and%20ESP8684. */

/* wolfSSL HW Acceleration supported on ESP32-C2. Uncomment to disable: */
/*  #define NO_ESP32_CRYPT                 */
/*  #define NO_WOLFSSL_ESP32_CRYPT_HASH    */ /* to disable all SHA HW   */

/* These are defined automatically in esp32-crypt.h, here for clarity    */
#define NO_WOLFSSL_ESP32_CRYPT_HASH_SHA384 /* no SHA384 HW on C2  */
#define NO_WOLFSSL_ESP32_CRYPT_HASH_SHA512 /* no SHA512 HW on C2  */

/* There's no AES or RSA/Math accelerator on the ESP32-C2
 * Auto defined with NO_WOLFSSL_ESP32_CRYPT_RSA_PRI, for clarity: */
#define NO_WOLFSSL_ESP32_CRYPT_AES
#define NO_WOLFSSL_ESP32_CRYPT_RSA_PRI
#define NO_WOLFSSL_ESP32_CRYPT_RSA_PRI_MP_MUL
#define NO_WOLFSSL_ESP32_CRYPT_RSA_PRI_MULMOD
#define NO_WOLFSSL_ESP32_CRYPT_RSA_PRI_EXPTMOD
/***** END CONFIG_IDF_TARGET_ESP32C2 *****/

#elif defined(CONFIG_IDF_TARGET_ESP32C3)
/* wolfSSL HW Acceleration supported on ESP32-C3. Uncomment to disable: */

/*  #define NO_ESP32_CRYPT                 */
/*  #define NO_WOLFSSL_ESP32_CRYPT_HASH    */ /* to disable all SHA HW   */

/* These are defined automatically in esp32-crypt.h, here for clarity:  */
#define NO_WOLFSSL_ESP32_CRYPT_HASH_SHA384 /* no SHA384 HW on C6  */
#define NO_WOLFSSL_ESP32_CRYPT_HASH_SHA512 /* no SHA512 HW on C6  */

/*  #define NO_WOLFSSL_ESP32_CRYPT_AES             */
/*  #define NO_WOLFSSL_ESP32_CRYPT_RSA_PRI         */
/*  #define NO_WOLFSSL_ESP32_CRYPT_RSA_PRI_MP_MUL  */
/*  #define NO_WOLFSSL_ESP32_CRYPT_RSA_PRI_MULMOD  */
/*  #define NO_WOLFSSL_ESP32_CRYPT_RSA_PRI_EXPTMOD */
/***** END CONFIG_IDF_TARGET_ESP32C3 *****/

#elif defined(CONFIG_IDF_TARGET_ESP32C6)
/* wolfSSL HW Acceleration supported on ESP32-C6. Uncomment to disable: */

/*  #define NO_ESP32_CRYPT                 */
/*  #define NO_WOLFSSL_ESP32_CRYPT_HASH    */
/*  These are defined automatically in esp32-crypt.h, here for clarity:  */
#define NO_WOLFSSL_ESP32_CRYPT_HASH_SHA384 /* no SHA384 HW on C6  */
#define NO_WOLFSSL_ESP32_CRYPT_HASH_SHA512 /* no SHA512 HW on C6  */

/*  #define NO_WOLFSSL_ESP32_CRYPT_AES             */
/*  #define NO_WOLFSSL_ESP32_CRYPT_RSA_PRI         */
/*  #define NO_WOLFSSL_ESP32_CRYPT_RSA_PRI_MP_MUL  */
/*  #define NO_WOLFSSL_ESP32_CRYPT_RSA_PRI_MULMOD  */
/*  #define NO_WOLFSSL_ESP32_CRYPT_RSA_PRI_EXPTMOD */
/***** END CONFIG_IDF_TARGET_ESP32C6 *****/

#elif defined(CONFIG_IDF_TARGET_ESP32H2)
/*  wolfSSL Hardware Acceleration not yet implemented */
#define NO_ESP32_CRYPT
#define NO_WOLFSSL_ESP32_CRYPT_HASH
#define NO_WOLFSSL_ESP32_CRYPT_AES
#define NO_WOLFSSL_ESP32_CRYPT_RSA_PRI
/***** END CONFIG_IDF_TARGET_ESP32H2 *****/

#elif defined(CONFIG_IDF_TARGET_ESP8266)
/*  TODO: Revisit ESP8266 */
#define NO_ESP32_CRYPT
#define NO_WOLFSSL_ESP32_CRYPT_HASH
#define NO_WOLFSSL_ESP32_CRYPT_AES
#define NO_WOLFSSL_ESP32_CRYPT_RSA_PRI
/***** END CONFIG_IDF_TARGET_ESP266 *****/
#else
/* Anything else encountered, disable HW acceleration */
#define NO_ESP32_CRYPT
#define NO_WOLFSSL_ESP32_CRYPT_HASH
#define NO_WOLFSSL_ESP32_CRYPT_AES
#define NO_WOLFSSL_ESP32_CRYPT_RSA_PRI
#endif /* CONFIG_IDF_TARGET Check */

#define DEBUG_WOLFSSL
/* Debug options:

#define ESP_VERIFY_MEMBLOCK
#define DEBUG_WOLFSSL
#define DEBUG_WOLFSSL_VERBOSE
#define DEBUG_WOLFSSL_SHA_MUTEX
#define WOLFSSL_ESP32_CRYPT_DEBUG
#define WOLFSSL_ESP32_CRYPT_HASH_SHA224_DEBUG
#define NO_RECOVER_SOFTWARE_CALC
#define WOLFSSL_TEST_STRAY 1
#define USE_ESP_DPORT_ACCESS_READ_BUFFER
#define WOLFSSL_ESP32_HW_LOCK_DEBUG
#define WOLFSSL_DEBUG_ESP_RSA_MULM_BITS
#define ESP_DISABLE_HW_TASK_LOCK
*/

#define WOLFSSL_ESPIDF_ERROR_PAUSE /* Pause in a loop rather than exit. */
#define WOLFSSL_HW_METRICS
#define ALT_ECC_SIZE
/* #define HASH_SIZE_LIMIT */ /* for test.c */

/* #define NO_HW_MATH_TEST */ /* Optionally turn off HW math checks */

/* Optionally include alternate HW test library: alt_hw_test.h */
/* When enabling, the ./components/wolfssl/CMakeLists.txt file
 * will need the name of the library in the idf_component_register
 * for the PRIV_REQUIRES list. */
/* #define INCLUDE_ALT_HW_TEST */

/* optionally turn off individual math HW acceleration features */

/* Turn off Large Number ESP32 HW Multiplication:
** [Z = X * Y] in esp_mp_mul()                                  */
/* #define NO_WOLFSSL_ESP32_CRYPT_RSA_PRI_MP_MUL                */

/* Turn off Large Number ESP32 HW Modular Exponentiation:
** [Z = X^Y mod M] in esp_mp_exptmod()                          */
/* #define NO_WOLFSSL_ESP32_CRYPT_RSA_PRI_EXPTMOD               */

/* Turn off Large Number ESP32 HW Modular Multiplication
** [Z = X * Y mod M] in esp_mp_mulmod()                         */
/* #define NO_WOLFSSL_ESP32_CRYPT_RSA_PRI_MULMOD                */

#define WOLFSSL_PUBLIC_MP /* used by benchmark */

/* when turning on ECC508 / ECC608 support
#define WOLFSSL_ESPWROOM32SE
#define HAVE_PK_CALLBACKS
#define WOLFSSL_ATECC508A
#define ATCA_WOLFSSL
*/

/* optional SM4 Ciphers. See https://github.com/wolfSSL/wolfsm
 * The section below defines macros used in typically all of the wolfSSL
 * examples such as the client and server for certs stored in header files.
 *
 * There are various certificate examples in this header file:
 * https://github.com/wolfSSL/wolfssl/blob/master/wolfssl/certs_test.h
 *
 * To use the sets of macros below, define *one* of these:
 *
 *    USE_CERT_BUFFERS_1024  - ECC 1024 bit encoded ASN1
 *    USE_CERT_BUFFERS_2048  - RSA 2048 bit encoded ASN1
 *    WOLFSSL_SM[2,3,4]      - SM Ciphers
 *
 * For example: define USE_CERT_BUFFERS_2048 to use CA Certs used in this
 *  wolfSSL function for the `ca_cert_der_2048` buffer, size and types:
 *
 *     ret = wolfSSL_CTX_load_verify_buffer(ctx,
 *                                          CTX_CA_CERT,
 *                                          CTX_CA_CERT_SIZE,
 *                                          CTX_CA_CERT_TYPE);
 *
 * See https://www.wolfssl.com/documentation/manuals/wolfssl/group__CertsKeys.html#function-wolfssl_ctx_load_verify_buffer
 *
 * In this case the CTX_CA_CERT will be defined as `ca_cert_der_2048` as
 * defined here: https://github.com/wolfSSL/wolfssl/blob/master/wolfssl/certs_test.h
 *
 * The CTX_CA_CERT_SIZE and CTX_CA_CERT_TYPE are similarly used to reference
 * array size and cert type respectively.
 *
 * Similarly for loading the private client key:
 *
 *  ret = wolfSSL_CTX_use_PrivateKey_buffer(ctx,
 *                                          CTX_CLIENT_KEY,
 *                                          CTX_CLIENT_KEY_SIZE,
 *                                          CTX_CLIENT_KEY_TYPE);
 *
 * see https://www.wolfssl.com/documentation/manuals/wolfssl/group__CertsKeys.html#function-wolfssl_ctx_use_privatekey_buffer
 *
 * Similarly, the other macros are for server certificates and keys:
 *   `CTX_SERVER_CERT` and `CTX_SERVER_KEY` are available.
 *
 * The certificate and key names are typically `static const unsigned char`
 * arrays. The [NAME]_size are typically `sizeof([array name])`, and the types
 * are the known wolfSSL encoding type integers (e.g. WOLFSSL_FILETYPE_PEM).
 *
 * See `SSL_FILETYPE_[name]` in
 *   https://github.com/wolfSSL/wolfssl/blob/master/wolfssl/ssl.h
 *
 * See Abstract Syntax Notation One (ASN.1) in:
 *   https://github.com/wolfSSL/wolfssl/blob/master/wolfssl/wolfcrypt/asn.h
 *
 * Optional SM4 Ciphers:
 *
 * Although the SM ciphers are shown here, the `certs_test_sm.h` may not yet
 * be available. See:
 *   https://github.com/wolfSSL/wolfssl/pull/6825
 *   https://github.com/wolfSSL/wolfsm
 *
 * Uncomment these 3 macros to enable the SM Ciphers and use the macros below.
 */

/*
#define WOLFSSL_SM2
#define WOLFSSL_SM3
#define WOLFSSL_SM4
*/

/* Conditional macros used in wolfSSL TLS client and server examples */
#if defined(WOLFSSL_SM2) || defined(WOLFSSL_SM3) || defined(WOLFSSL_SM4)
#include <wolfssl/certs_test_sm.h>
#define CTX_CA_CERT root_sm2
#define CTX_CA_CERT_SIZE sizeof_root_sm2
#define CTX_CA_CERT_TYPE WOLFSSL_FILETYPE_PEM
#define CTX_SERVER_CERT server_sm2
#define CTX_SERVER_CERT_SIZE sizeof_server_sm2
#define CTX_SERVER_CERT_TYPE WOLFSSL_FILETYPE_PEM
#define CTX_SERVER_KEY server_sm2_priv
#define CTX_SERVER_KEY_SIZE sizeof_server_sm2_priv
#define CTX_SERVER_KEY_TYPE WOLFSSL_FILETYPE_PEM

#undef WOLFSSL_BASE16
#define WOLFSSL_BASE16
#else
#if defined(USE_CERT_BUFFERS_2048)
#ifdef USE_CERT_BUFFERS_1024
#error "USE_CERT_BUFFERS_1024 is already defined. Pick one."
#endif
#include <wolfssl/certs_test.h>
#define CTX_CA_CERT ca_cert_der_2048
#define CTX_CA_CERT_SIZE sizeof_ca_cert_der_2048
#define CTX_CA_CERT_TYPE WOLFSSL_FILETYPE_ASN1

#define CTX_SERVER_CERT server_cert_der_2048
#define CTX_SERVER_CERT_SIZE sizeof_server_cert_der_2048
#define CTX_SERVER_CERT_TYPE WOLFSSL_FILETYPE_ASN1
#define CTX_SERVER_KEY server_key_der_2048
#define CTX_SERVER_KEY_SIZE sizeof_server_key_der_2048
#define CTX_SERVER_KEY_TYPE WOLFSSL_FILETYPE_ASN1

#define CTX_CLIENT_CERT client_cert_der_2048
#define CTX_CLIENT_CERT_SIZE sizeof_client_cert_der_2048
#define CTX_CLIENT_CERT_TYPE WOLFSSL_FILETYPE_ASN1
#define CTX_CLIENT_KEY client_key_der_2048
#define CTX_CLIENT_KEY_SIZE sizeof_client_key_der_2048
#define CTX_CLIENT_KEY_TYPE WOLFSSL_FILETYPE_ASN1
#elif defined(USE_CERT_BUFFERS_1024)
#ifdef USE_CERT_BUFFERS_2048
#error "USE_CERT_BUFFERS_2048 is already defined. Pick one."
#endif
#include <wolfssl/certs_test.h>
#define CTX_CA_CERT ca_cert_der_1024
#define CTX_CA_CERT_SIZE sizeof_ca_cert_der_1024
#define CTX_CA_CERT_TYPE WOLFSSL_FILETYPE_ASN1

#define CTX_CLIENT_CERT client_cert_der_1024
#define CTX_CLIENT_CERT_SIZE sizeof_client_cert_der_1024
#define CTX_CLIENT_CERT_TYPE WOLFSSL_FILETYPE_ASN1
#define CTX_CLIENT_KEY client_key_der_1024
#define CTX_CLIENT_KEY_SIZE sizeof_client_key_der_1024
#define CTX_CLIENT_KEY_TYPE WOLFSSL_FILETYPE_ASN1

#define CTX_SERVER_CERT server_cert_der_1024
#define CTX_SERVER_CERT_SIZE sizeof_server_cert_der_1024
#define CTX_SERVER_CERT_TYPE WOLFSSL_FILETYPE_ASN1
#define CTX_SERVER_KEY server_key_der_1024
#define CTX_SERVER_KEY_SIZE sizeof_server_key_der_1024
#define CTX_SERVER_KEY_TYPE WOLFSSL_FILETYPE_ASN1
#else
#error "Must define USE_CERT_BUFFERS_2048 or USE_CERT_BUFFERS_1024"
#endif

// IAQ added designs
#define NO_WRITEV
#endif
```
